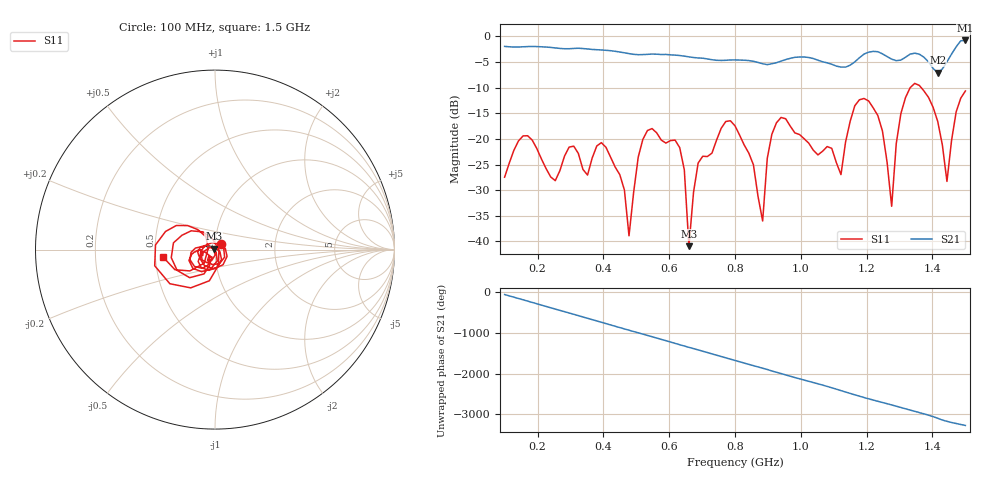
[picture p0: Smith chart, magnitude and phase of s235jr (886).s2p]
! NanoVNA-App
! Date: 2025-09-25 15:11:04
! Start: 100MHz Stop: 1,5GHz Points: 101
! S-Parameter data: F S11 S21 S12 S22
# Hz S RI R 50
!  Frequency  S11_Real  S11_Imag  S21_Real  S21_Imag  S12_Real  S12_Imag  S22_Real  S22_Imag
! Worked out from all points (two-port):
!   101 points, 100 MHz to 1.5 GHz, reference 50 ohm
!   highest |S21| = -0.80 dB at 1.5 GHz (marker M1); lowest = -7.1 dB at 1.416 GHz (marker M2)
!   |S21| within 3 dB of the highest: start of sweep to 639 MHz; 1.185 GHz to 1.258 GHz (73.09 MHz wide, 5.98 % of centre) (the widest 2 of 4)
!   lowest |S11| = -40.9 dB at 660 MHz (marker M3), VSWR 1.02, Z = 49.3 + j0.527 ohm
!   |S11| at or under -10 dB: start of sweep to 1.332 GHz; 1.366 GHz to end of sweep
!   S12 and S22 are empty: the file has one direction only
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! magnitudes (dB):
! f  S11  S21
! 100 MHz  -27.5  -2.0
! 156 MHz  -19.4  -2.0
! 338 MHz  -26.0  -2.4
! 408 MHz  -21.6  -2.7
! 478 MHz  -38.9  -3.4
! 520 MHz  -20.1  -3.6
! 576 MHz  -20.2  -3.5
! 632 MHz  -21.7  -3.7
! 660 MHz  -40.9  -4.0
! 688 MHz  -24.7  -4.2
! 800 MHz  -17.4  -4.6
! 884 MHz  -36.0  -5.3
! 926 MHz  -16.9  -5.1
! 1.038 GHz  -22.2  -4.3
! 1.122 GHz  -27.0  -6.0
! 1.206 GHz  -12.6  -3.1
! 1.276 GHz  -33.1  -4.4
! 1.304 GHz  -15.1  -4.6
! 1.332 GHz  -10.0  -3.5
! 1.416 GHz  -16.6  -7.1
! 1.444 GHz  -28.3  -5.0
! 1.5 GHz  -10.7  -0.8
